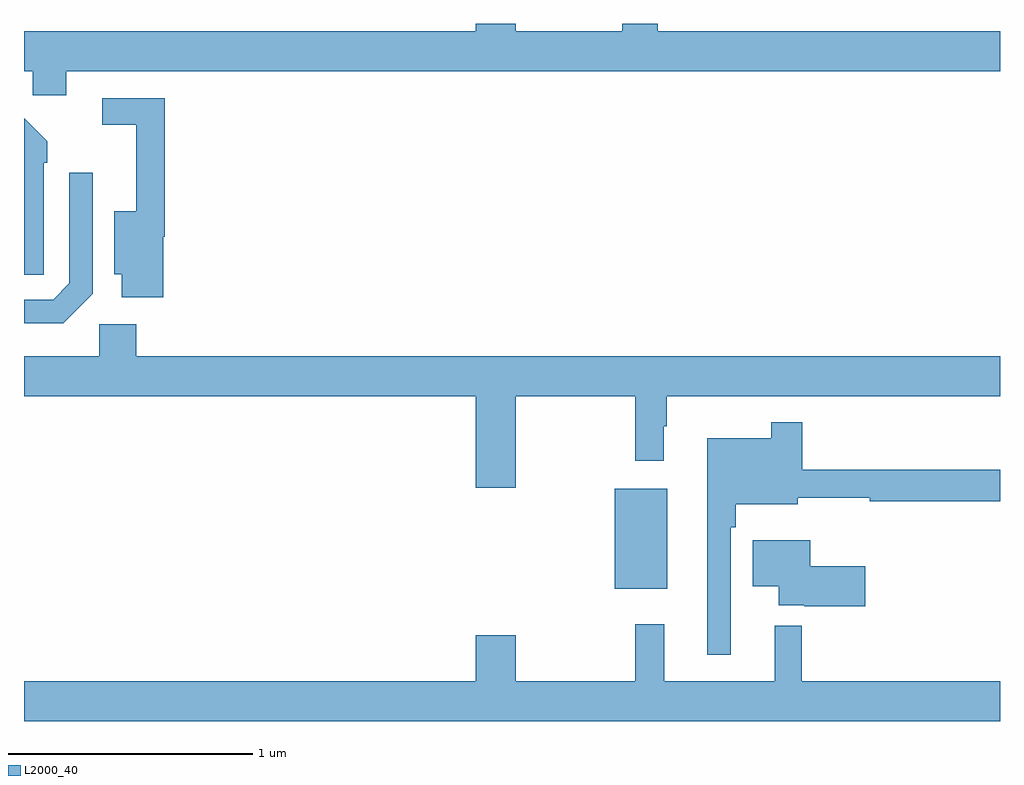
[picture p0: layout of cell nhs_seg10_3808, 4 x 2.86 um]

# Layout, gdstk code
import gdstk
lib = gdstk.Library(unit=1e-6, precision=1e-09)
def R(c, l, rs):  # rectangles x0, y0, x1, y1
    for r in rs: c.add(gdstk.rectangle(r[:2], r[2:], *l))
def P(c, l, *ps):  # polygons
    for p in ps: c.add(gdstk.Polygon(p, *l))
L2000_40 = (2000, 40)

nhs_seg10_3808 = lib.new_cell('nhs_seg10_3808')
R(nhs_seg10_3808, L2000_40, [(321.422,1310.183,321.637,1310.593)])
P(nhs_seg10_3808, L2000_40, [(319.174,1312.304),(323,1312.304),(323,1312.468),(321.598,1312.468),(321.598,1312.5),(321.451,1312.5),(321.451,1312.468),(321.016,1312.468),(321.016,1312.5),(320.852,1312.5),(320.852,1312.468),(319,1312.468),(319,1312.304),(319.035,1312.304),(319.035,1312.206),(319.174,1312.206)],
  [(319.571,1311.626),(319.577,1311.626),(319.577,1312.194),(319.32,1312.194),(319.32,1312.086),(319.46,1312.086),(319.46,1311.73),(319.37,1311.73),(319.37,1311.473),(319.4,1311.473),(319.4,1311.378),(319.571,1311.378)],
  [(319.08,1311.929),(319.095,1311.929),(319.095,1312.017),(319,1312.112),(319,1311.471),(319.08,1311.471)],
  [(319.281,1311.393),(319.281,1311.889),(319.185,1311.889),(319.185,1311.435),(319.119,1311.369),(319,1311.369),(319,1311.272),(319.16,1311.272)],
  [(321.016,1310.972),(321.505,1310.972),(321.505,1310.709),(321.622,1310.709),(321.622,1310.849),(321.634,1310.849),(321.634,1310.972),(323,1310.972),(323,1311.136),(319.46,1311.136),(319.46,1311.268),(319.308,1311.268),(319.308,1311.136),(319,1311.136),(319,1310.972),(320.852,1310.972),(320.852,1310.598),(321.016,1310.598)],
  [(321.897,1310.435),(321.917,1310.435),(321.917,1310.531),(322.171,1310.531),(322.171,1310.557),(322.467,1310.557),(322.467,1310.542),(323,1310.542),(323,1310.671),(322.19,1310.671),(322.19,1310.866),(322.062,1310.866),(322.062,1310.8),(321.8,1310.8),(321.8,1309.914),(321.897,1309.914)],
  [(322.447,1310.275),(322.222,1310.275),(322.222,1310.383),(321.986,1310.383),(321.986,1310.195),(322.094,1310.195),(322.094,1310.117),(322.198,1310.117),(322.198,1310.112),(322.447,1310.112)],
  [(323,1309.804),(322.188,1309.804),(322.188,1310.032),(322.076,1310.032),(322.076,1309.804),(321.623,1309.804),(321.623,1310.038),(321.505,1310.038),(321.505,1309.804),(321.016,1309.804),(321.016,1309.993),(320.852,1309.993),(320.852,1309.804),(319,1309.804),(319,1309.64),(323,1309.64)])

lib.write_gds('nhs_seg10_3808.gds')
